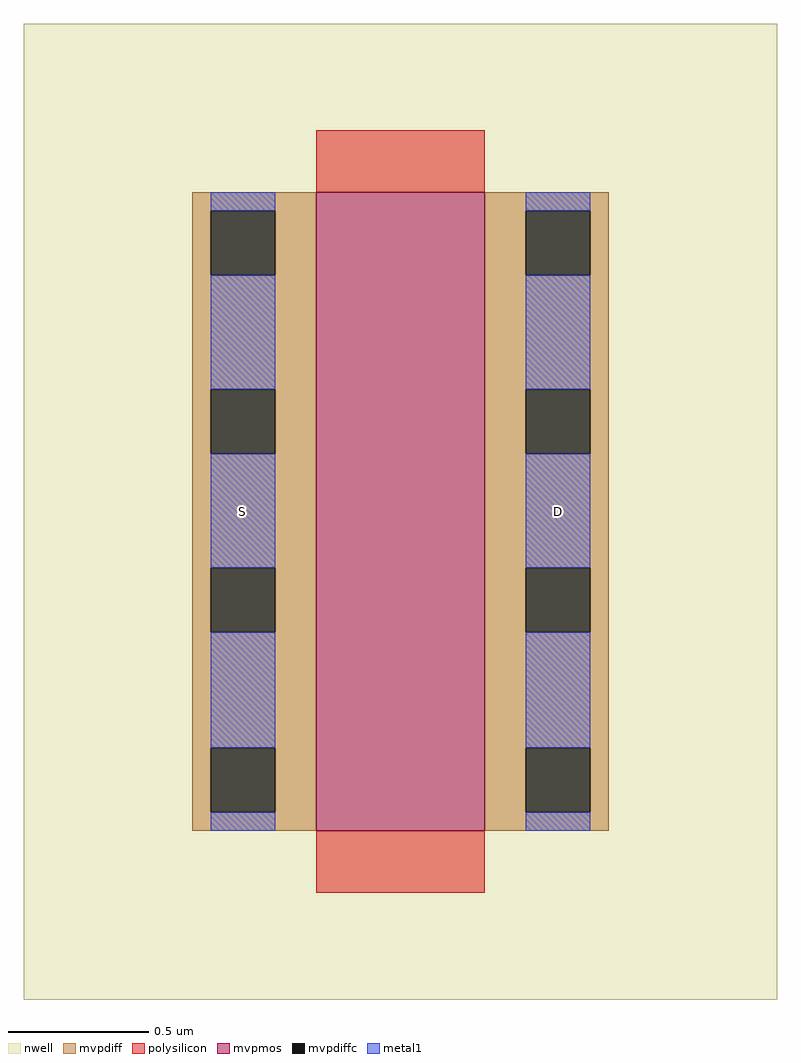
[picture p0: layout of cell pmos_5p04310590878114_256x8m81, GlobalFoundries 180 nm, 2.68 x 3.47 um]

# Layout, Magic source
magic
tech gf180mcuC
magscale 1 10
<< nwell >>
rect -208 -120 328 574
<< mvpmos >>
rect 0 0 120 454
<< mvpdiff >>
rect -88 441 0 454
rect -88 395 -75 441
rect -29 395 0 441
rect -88 314 0 395
rect -88 268 -75 314
rect -29 268 0 314
rect -88 187 0 268
rect -88 141 -75 187
rect -29 141 0 187
rect -88 59 0 141
rect -88 13 -75 59
rect -29 13 0 59
rect -88 0 0 13
rect 120 441 208 454
rect 120 395 149 441
rect 195 395 208 441
rect 120 314 208 395
rect 120 268 149 314
rect 195 268 208 314
rect 120 187 208 268
rect 120 141 149 187
rect 195 141 208 187
rect 120 59 208 141
rect 120 13 149 59
rect 195 13 208 59
rect 120 0 208 13
<< mvpdiffc >>
rect -75 395 -29 441
rect -75 268 -29 314
rect -75 141 -29 187
rect -75 13 -29 59
rect 149 395 195 441
rect 149 268 195 314
rect 149 141 195 187
rect 149 13 195 59
<< polysilicon >>
rect 0 454 120 498
rect 0 -44 120 0
<< metal1 >>
rect -75 441 -29 454
rect -75 314 -29 395
rect -75 187 -29 268
rect -75 59 -29 141
rect -75 0 -29 13
rect 149 441 195 454
rect 149 314 195 395
rect 149 187 195 268
rect 149 59 195 141
rect 149 0 195 13
<< labels >>
flabel metal1 s -52 227 -52 227 0 FreeSans 400 0 0 0 S
flabel metal1 s 172 227 172 227 0 FreeSans 400 0 0 0 D
<< properties >>
string GDS_END 3540
string GDS_FILE $PDKPATH/libs.ref/gf180mcu_fd_ip_sram/gds/gf180mcu_fd_ip_sram__sram256x8m8wm1.gds
string GDS_START 2068
<< end >>
